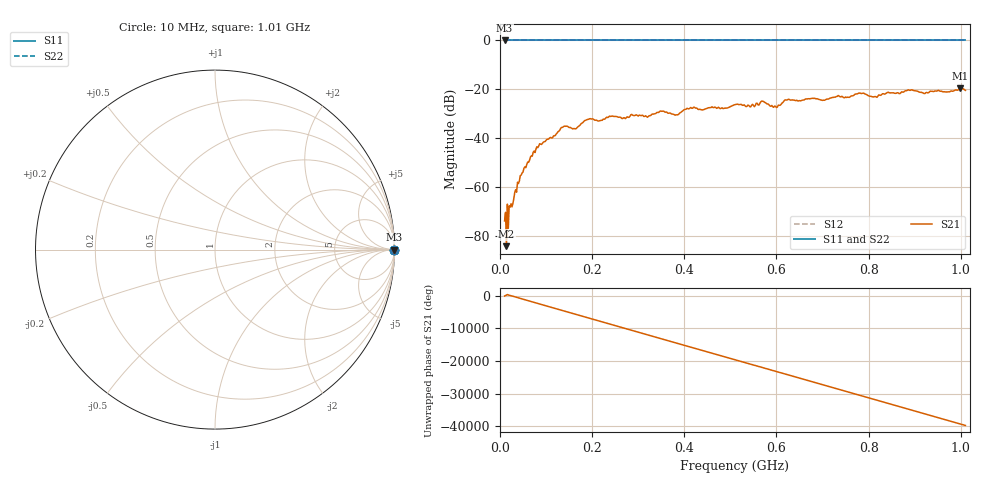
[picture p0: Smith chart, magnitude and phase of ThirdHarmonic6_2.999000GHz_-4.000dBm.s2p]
! 8/17/2025 8:34:07 AM
! C:\ANRITSUVNA\TEMP\TEMP.S2P
! CHANNEL.1
! TR.MEASUREMENT
! RAW.DATA
! RF.CORRECTION.OFF
! AVERAGING.OFF
! IF.BANDWIDTH: 5KHZ
! SWEEPTYPE:  FREQ.SWEEP(Linear)
! Reference Plane Port Info
! PORT:  PORT1  PORT2
! DISTANCE:  0  m  0  m
! TIME:  0  s  0  s
! PHASE.OFFSET:  0  deg.  0  deg.
! LOSS:  0  dB  0  dB
! REF.LOSS:  0  dB  0  dB
! REF.FREQ:  0  Hz  0  Hz
! Power Info
! POWER:  -20  dBm  -20  dBm
! EFF.POWER:  -20  dBm  -20  dBm
! SOURCE.ATTEN:  0  dB  0  dB
! TEST.ATTEN:  0  dB  0  dB
# GHZ S RI R 50.0
! FREQ.GHZ  S11RE  S11IM  S21RE  S21IM  S12RE  S12IM  S22RE  S22IM
!; PortSelection: Port_12
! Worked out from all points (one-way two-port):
!   501 points, 10 MHz to 1.01 GHz, reference 50 ohm
!   highest |S21| = -19.54 dB at 998 MHz (marker M1); lowest = -84.2 dB at 14 MHz (marker M2)
!   lowest |S11| = 0.0 dB at 10 MHz (marker M3)
!   |S11| at or under -10 dB: nowhere
!   |S22| runs from 0.0 to 0.0 dB; largest |S21 - S12| = 1.1
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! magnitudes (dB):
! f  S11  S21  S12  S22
! 10 MHz  0.0  -73.9  0.0  0.0
! 14 MHz  0.0  -84.2  0.0  0.0
! 48 MHz  0.0  -54.2  0.0  0.0
! 82 MHz  0.0  -43.9  0.0  0.0
! 136 MHz  0.0  -35.6  0.0  0.0
! 162 MHz  0.0  -36.1  0.0  0.0
! 178 MHz  0.0  -33.9  0.0  0.0
! 194 MHz  0.0  -32.1  0.0  0.0
! 322 MHz  0.0  -31.1  0.0  0.0
! 344 MHz  0.0  -29.5  0.0  0.0
! 384 MHz  0.0  -30.5  0.0  0.0
! 410 MHz  0.0  -28.0  0.0  0.0
! 510 MHz  0.0  -26.3  0.0  0.0
! 570 MHz  0.0  -24.9  0.0  0.0
! 598 MHz  0.0  -27.0  0.0  0.0
! 622 MHz  0.0  -24.4  0.0  0.0
! 678 MHz  0.0  -23.7  0.0  0.0
! 782 MHz  0.0  -21.6  0.0  0.0
! 814 MHz  0.0  -23.0  0.0  0.0
! 844 MHz  0.0  -21.3  0.0  0.0
! 998 MHz  0.0  -19.5  0.0  0.0
! 1.01 GHz  0.0  -20.4  0.0  0.0
